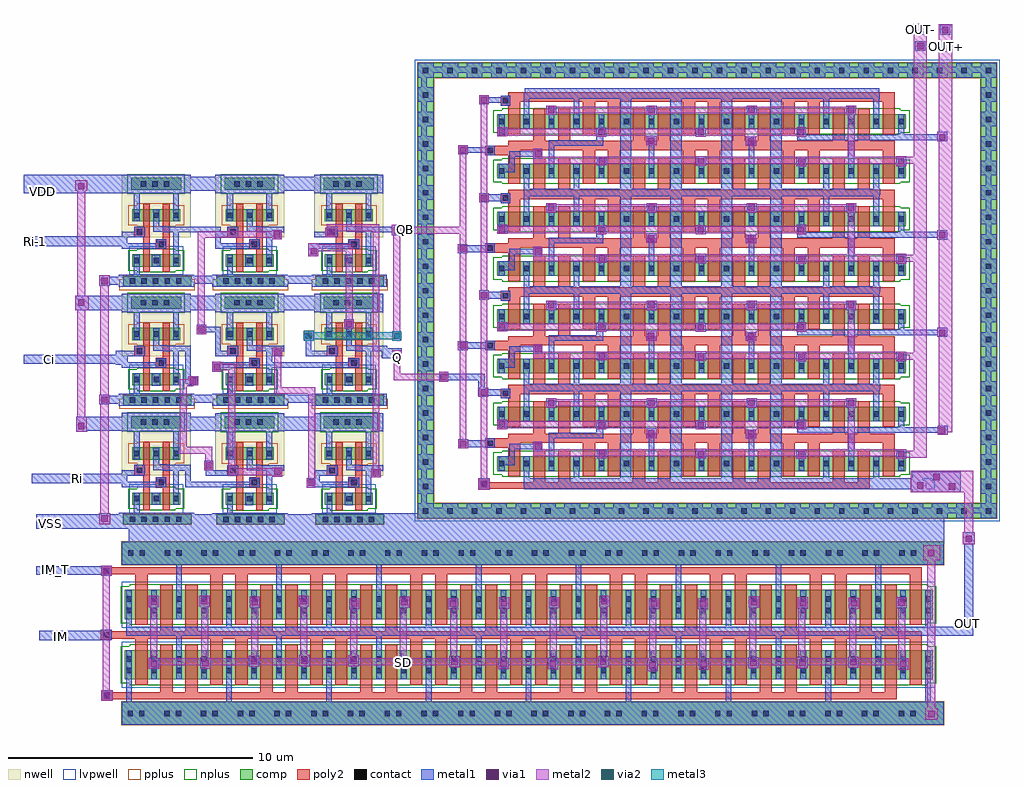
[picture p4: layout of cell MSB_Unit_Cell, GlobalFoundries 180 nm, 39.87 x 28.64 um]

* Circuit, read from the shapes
.subckt MSB_Unit_Cell Ci IM IM_T OUT OUT+ OUT- Q QB Ri Ri-1 SD VDD VSS
XM1 SD IM VSS VSS nfet_03v3 w=1.2u l=0.5u m=32
XM2 SD IM_T OUT VSS nfet_03v3 w=1.2u l=0.5u m=32
XM3 Local_Enc_4/NAND_5/SD Ri VSS VSS nfet_03v3 w=0.5u l=0.28u
XM4 Local_Enc_4/NAND_6/SD Ci VSS VSS nfet_03v3 w=0.5u l=0.28u
XM5 Local_Enc_4/NAND_8/SD Ri-1 VSS VSS nfet_03v3 w=0.5u l=0.28u
XM6 Local_Enc_4/NAND_2/A Ri Local_Enc_4/NAND_5/SD VSS nfet_03v3 w=0.5u l=0.28u
XM7 Local_Enc_4/NAND_2/B Ci Local_Enc_4/NAND_6/SD VSS nfet_03v3 w=0.5u l=0.28u
XM8 Local_Enc_4/NAND_7/A Ri-1 Local_Enc_4/NAND_8/SD VSS nfet_03v3 w=0.5u l=0.28u
XM9 Local_Enc_4/NAND_2/SD Local_Enc_4/NAND_2/B VSS VSS nfet_03v3 w=0.5u l=0.28u
XM10 Local_Enc_4/NAND_3/SD Local_Enc_4/NAND_3/B VSS VSS nfet_03v3 w=0.5u l=0.28u
XM11 Local_Enc_4/NAND_7/SD Local_Enc_4/NAND_7/A VSS VSS nfet_03v3 w=0.5u l=0.28u
XM12 Local_Enc_4/NAND_3/A Local_Enc_4/NAND_2/A Local_Enc_4/NAND_2/SD VSS nfet_03v3 w=0.5u l=0.28u
XM13 Local_Enc_4/NAND_0/A Local_Enc_4/NAND_3/A Local_Enc_4/NAND_3/SD VSS nfet_03v3 w=0.5u l=0.28u
XM14 Local_Enc_4/NAND_3/B Local_Enc_4/NAND_7/A Local_Enc_4/NAND_7/SD VSS nfet_03v3 w=0.5u l=0.28u
XM15 Local_Enc_4/NAND_1/SD Local_Enc_4/NAND_0/A VSS VSS nfet_03v3 w=0.5u l=0.28u
XM16 Local_Enc_4/NAND_0/SD QB VSS VSS nfet_03v3 w=0.5u l=0.28u
XM17 Local_Enc_4/NAND_4/SD Local_Enc_4/NAND_4/B VSS VSS nfet_03v3 w=0.5u l=0.28u
XM18 Local_Enc_4/NAND_4/B Local_Enc_4/NAND_0/A Local_Enc_4/NAND_1/SD VSS nfet_03v3 w=0.5u l=0.28u
XM19 Q Local_Enc_4/NAND_0/A Local_Enc_4/NAND_0/SD VSS nfet_03v3 w=0.5u l=0.28u
XM20 QB Q Local_Enc_4/NAND_4/SD VSS nfet_03v3 w=0.5u l=0.28u
XM21 OUT QB OUT- VSS nfet_03v3 w=0.6u l=0.5u m=64
XM22 OUT Q OUT+ VSS nfet_03v3 w=0.6u l=0.5u m=64
XM23 Local_Enc_4/NAND_2/A Ri VDD VDD pfet_03v3 w=0.5u l=0.28u m=2
XM24 Local_Enc_4/NAND_2/B Ci VDD VDD pfet_03v3 w=0.5u l=0.28u m=2
XM25 Local_Enc_4/NAND_7/A Ri-1 VDD VDD pfet_03v3 w=0.5u l=0.28u m=2
XM26 Local_Enc_4/NAND_3/A Local_Enc_4/NAND_2/B VDD VDD pfet_03v3 w=0.5u l=0.28u
XM27 Local_Enc_4/NAND_0/A Local_Enc_4/NAND_3/B VDD VDD pfet_03v3 w=0.5u l=0.28u
XM28 Local_Enc_4/NAND_3/B Local_Enc_4/NAND_7/A VDD VDD pfet_03v3 w=0.5u l=0.28u m=2
XM29 VDD Local_Enc_4/NAND_2/A Local_Enc_4/NAND_3/A VDD pfet_03v3 w=0.5u l=0.28u
XM30 VDD Local_Enc_4/NAND_3/A Local_Enc_4/NAND_0/A VDD pfet_03v3 w=0.5u l=0.28u
XM31 Local_Enc_4/NAND_4/B Local_Enc_4/NAND_0/A VDD VDD pfet_03v3 w=0.5u l=0.28u m=2
XM32 Q QB VDD VDD pfet_03v3 w=0.5u l=0.28u
XM33 QB Local_Enc_4/NAND_4/B VDD VDD pfet_03v3 w=0.5u l=0.28u
XM34 VDD Local_Enc_4/NAND_0/A Q VDD pfet_03v3 w=0.5u l=0.28u
XM35 VDD Q QB VDD pfet_03v3 w=0.5u l=0.28u
.ends

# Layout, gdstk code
from math import pi, radians
import gdstk
lib = gdstk.Library(unit=1e-6, precision=1e-09)
def R(c, l, rs):  # rectangles x0, y0, x1, y1
    for r in rs: c.add(gdstk.rectangle(r[:2], r[2:], *l))
def A(c, l, x, y, w, h, nx, ny, dx, dy):  # array of equal rectangles
    R(c, l, [(x+i*dx, y+j*dy, x+i*dx+w, y+j*dy+h) for i in range(nx) for j in range(ny)])
nwell = (21, 0)
comp = (22, 0)
poly2 = (30, 0)
pplus = (31, 0)
nplus = (32, 0)
contact = (33, 0)
metal1 = (34, 0)
via1 = (35, 0)
metal2 = (36, 0)
via2 = (38, 0)
metal3 = (42, 0)
lvpwell = (204, 0)

nmos_3p3_agplv7 = lib.new_cell('nmos_3p3_AGPLV7')
R(nmos_3p3_agplv7, comp, [(-0.69,-0.3,0.69,0.3)])
R(nmos_3p3_agplv7, poly2, [(-0.25,-0.52,0.25,0.52)])
R(nmos_3p3_agplv7, nplus, [(-0.48,-0.53,0.48,-0.46), (-0.85,-0.46,0.85,0.46), (-0.48,0.46,0.48,0.53)])
R(nmos_3p3_agplv7, contact, [(-0.62,-0.11,-0.4,0.11), (0.4,-0.11,0.62,0.11)])
R(nmos_3p3_agplv7, metal1, [(-0.625,-0.29,-0.395,0.29), (0.395,-0.29,0.625,0.29)])
R(nmos_3p3_agplv7, lvpwell, [(-0.81,-0.64,0.81,0.64)])

nmos_3p3_aqeadk = lib.new_cell('nmos_3p3_AQEADK')
R(nmos_3p3_aqeadk, comp, [(-0.69,-0.3,0.69,0.3)])
R(nmos_3p3_aqeadk, poly2, [(-0.25,-0.52,0.25,0.52)])
R(nmos_3p3_aqeadk, nplus, [(-0.48,-0.53,0.48,-0.46), (-0.85,-0.46,0.85,0.46), (-0.48,0.46,0.48,0.53)])
R(nmos_3p3_aqeadk, contact, [(-0.62,-0.11,-0.4,0.11), (0.4,-0.11,0.62,0.11)])
R(nmos_3p3_aqeadk, metal1, [(-0.625,-0.29,-0.395,0.29), (0.395,-0.29,0.625,0.29)])
R(nmos_3p3_aqeadk, lvpwell, [(-0.81,-0.64,0.81,0.64)])

msb_unit_cell_p2 = lib.new_cell('MSB_Unit_Cell_p2')
R(msb_unit_cell_p2, comp, [(15.475,0.345,15.72,0.94)])
R(msb_unit_cell_p2, poly2, [(1.58,-2.4,15.34,-2.15), (1.58,-2.15,2.08,-1.905), (2.6,-2.15,3.1,-1.905), (5.66,-2.15,6.16,-1.905), (6.68,-2.15,7.18,-1.905), (9.74,-2.15,10.24,-1.905), (10.76,-2.15,11.26,-1.905), (13.82,-2.15,14.32,-1.905), (14.84,-2.15,15.34,-1.905), (1.59,-1.905,2.08,-1.63), (0.56,-0.865,1.06,-0.745), (3.62,-0.865,4.12,-0.54), (4.64,-0.865,5.14,-0.54), (7.7,-0.865,8.2,-0.54), (8.72,-0.865,9.22,-0.54), (11.78,-0.865,12.28,-0.54), (12.8,-0.865,13.3,-0.54), (15.86,-0.865,16.36,-0.54), (-0.37,-0.745,1.06,-0.54), (-0.37,-0.54,16.36,-0.35), (0.56,-0.35,16.36,-0.155), (1.58,-0.155,2.08,0.12), (2.6,-0.155,3.1,0.12), (5.66,-0.155,6.16,0.12), (6.68,-0.155,7.18,0.12), (9.74,-0.155,10.24,0.12), (10.76,-0.155,11.26,0.12), (13.82,-0.155,14.32,0.12), (14.84,-0.155,15.34,0.12), (1.58,0.13,1.965,0.34), (0.56,0.94,1.06,1.29), (15.925,1.025,16.36,1.16), (3.62,1.16,4.12,1.45), (4.64,1.16,5.14,1.45), (7.7,1.16,8.2,1.45), (8.72,1.16,9.22,1.45), (11.78,1.16,12.28,1.45), (12.8,1.16,13.3,1.45), (15.86,1.16,16.36,1.45), (0.255,1.29,1.06,1.45), (0.255,1.45,16.36,1.685), (0.56,1.685,16.36,1.835)])
A(msb_unit_cell_p2, nplus, 1.29, -1.915, 0.06, 0.07, 15, 2, 1.02, 0.99)
A(msb_unit_cell_p2, nplus, 1.29, 0.11, 0.06, 0.07, 15, 2, 1.02, 0.99)
R(msb_unit_cell_p2, nplus, [(15.315,0.185,15.88,1.1)])
R(msb_unit_cell_p2, contact, [(-0.285,-0.66,-0.065,-0.44), (0.345,1.38,0.565,1.6)])
A(msb_unit_cell_p2, metal1, 1.205, -2.1, 0.23, 0.42, 8, 1, 2.04, 0)
A(msb_unit_cell_p2, metal1, 5.27, -1.68, 0.255, 2.615, 4, 1, 2.04, 0)
A(msb_unit_cell_p2, metal1, 1.205, 0.935, 0.23, 0.635, 7, 1, 2.04, 0)
R(msb_unit_cell_p2, metal1, [(1.205,-2.33,15.76,-2.1), (0.17,-1.68,0.425,-1.445), (1.19,-1.68,1.445,-1.09), (3.23,-1.68,3.485,-1.09), (13.43,-1.68,13.685,-1.09), (15.47,-1.68,15.725,-1.09), (0.17,-1.445,0.835,-1.09), (12.335,-1.19,12.745,-0.805), (16.415,-1.175,16.83,-0.805), (8.235,-1.165,8.655,-0.78), (4.185,-1.155,4.595,-0.795), (2.225,-1.095,2.455,-0.35), (6.305,-1.095,6.535,-0.34), (10.385,-1.095,10.615,-0.355), (14.465,-1.095,14.695,-0.125), (0.605,-1.09,0.835,-0.8), (1.59,-0.885,1.96,-0.8), (0.605,-0.8,1.96,-0.57), (-0.37,-0.745,0.025,-0.35), (1.59,-0.57,1.96,-0.485), (10.275,-0.355,10.7,0.005), (2.225,-0.35,4.455,-0.12), (6.2,-0.34,6.625,0.065), (12.365,-0.125,16.735,0.02), (4.165,-0.12,4.455,0.02), (4.165,0.02,4.57,0.39), (8.235,0.02,8.64,0.39), (12.345,0.02,16.735,0.105), (0.115,0.03,0.525,0.405), (12.345,0.105,12.745,0.4), (16.505,0.105,16.735,0.35), (1.19,0.345,1.445,0.935), (3.23,0.345,3.485,0.935), (13.43,0.345,13.68,0.935), (15.475,0.345,15.72,0.94), (0.185,0.405,0.415,0.425), (2.12,0.905,2.53,1.28), (6.225,0.905,6.635,1.28), (10.305,0.905,10.715,1.28), (14.37,0.905,14.78,1.28), (15.485,0.94,15.715,1.57), (2.18,1.28,2.47,1.29), (0.255,1.29,0.65,1.685), (1.205,1.57,15.75,1.8)])
R(msb_unit_cell_p2, via1, [(12.41,-1.125,12.67,-0.865), (8.315,-1.115,8.575,-0.855), (16.49,-1.115,16.75,-0.855), (4.27,-1.105,4.53,-0.845), (1.65,-0.815,1.91,-0.555), (10.35,-0.305,10.61,-0.045), (6.275,-0.28,6.535,-0.02), (4.24,0.07,4.5,0.33), (8.3,0.07,8.56,0.33), (12.4,0.07,12.66,0.33), (0.185,0.085,0.445,0.345), (2.195,0.975,2.455,1.235), (6.295,0.975,6.555,1.235), (10.375,0.975,10.635,1.235), (14.445,0.975,14.705,1.235)])
R(msb_unit_cell_p2, metal2, [(12.335,-1.19,12.745,-1.085), (16.41,-1.19,16.835,-1.085), (8.235,-1.165,8.655,-1.085), (4.185,-1.155,4.595,-1.085), (1.595,-1.085,16.835,-0.885), (1.59,-0.885,16.835,-0.805), (1.59,-0.805,1.96,-0.485), (4.185,-0.805,4.595,-0.795), (8.235,-0.805,8.655,-0.78), (14.435,-0.805,14.715,0.905), (16.41,-0.805,16.835,-0.79), (10.34,-0.36,10.62,-0.355), (10.275,-0.355,10.7,0.005), (6.2,-0.34,6.625,0.06), (10.275,0.005,10.71,0.06), (4.165,0.02,4.57,0.06), (8.235,0.02,8.64,0.06), (12.345,0.02,12.745,0.06), (0.115,0.03,0.525,0.06), (0.115,0.06,12.745,0.34), (0.115,0.34,0.525,0.405), (4.165,0.34,4.57,0.39), (8.235,0.34,8.64,0.39), (12.345,0.34,12.745,0.4), (2.12,0.905,2.53,0.965), (6.225,0.905,6.635,0.965), (10.305,0.905,10.715,0.965), (14.37,0.905,14.78,0.965), (2.12,0.965,14.78,1.245), (2.12,1.245,2.53,1.28), (6.225,1.245,6.635,1.28), (10.305,1.245,10.715,1.28), (14.37,1.245,14.78,1.28)])
R(msb_unit_cell_p2, lvpwell, [(12.335,-1.19,12.745,-0.805), (8.235,-1.165,8.645,-0.78), (10.275,0.005,10.71,0.07), (15.475,0.345,15.72,0.94)])
msb_unit_cell_p2.add(gdstk.Reference(nmos_3p3_agplv7, (0.81,-1.385)))
msb_unit_cell_p2.add(gdstk.Reference(nmos_3p3_agplv7, (1.83,-1.385)))
msb_unit_cell_p2.add(gdstk.Reference(nmos_3p3_agplv7, (2.85,-1.385)))
msb_unit_cell_p2.add(gdstk.Reference(nmos_3p3_agplv7, (3.87,-1.385)))
msb_unit_cell_p2.add(gdstk.Reference(nmos_3p3_agplv7, (4.89,-1.385)))
msb_unit_cell_p2.add(gdstk.Reference(nmos_3p3_agplv7, (5.91,-1.385)))
msb_unit_cell_p2.add(gdstk.Reference(nmos_3p3_agplv7, (6.93,-1.385)))
msb_unit_cell_p2.add(gdstk.Reference(nmos_3p3_agplv7, (7.95,-1.385)))
msb_unit_cell_p2.add(gdstk.Reference(nmos_3p3_agplv7, (8.97,-1.385)))
msb_unit_cell_p2.add(gdstk.Reference(nmos_3p3_agplv7, (9.99,-1.385)))
msb_unit_cell_p2.add(gdstk.Reference(nmos_3p3_agplv7, (12.03,-1.385)))
msb_unit_cell_p2.add(gdstk.Reference(nmos_3p3_agplv7, (11.01,-1.385)))
msb_unit_cell_p2.add(gdstk.Reference(nmos_3p3_agplv7, (13.05,-1.385)))
msb_unit_cell_p2.add(gdstk.Reference(nmos_3p3_agplv7, (14.07,-1.385)))
msb_unit_cell_p2.add(gdstk.Reference(nmos_3p3_agplv7, (15.09,-1.385)))
msb_unit_cell_p2.add(gdstk.Reference(nmos_3p3_agplv7, (16.11,-1.385)))
msb_unit_cell_p2.add(gdstk.Reference(nmos_3p3_aqeadk, (0.81,0.64)))
msb_unit_cell_p2.add(gdstk.Reference(nmos_3p3_aqeadk, (1.83,0.64)))
msb_unit_cell_p2.add(gdstk.Reference(nmos_3p3_aqeadk, (2.85,0.64)))
msb_unit_cell_p2.add(gdstk.Reference(nmos_3p3_aqeadk, (3.87,0.64)))
msb_unit_cell_p2.add(gdstk.Reference(nmos_3p3_aqeadk, (4.89,0.64)))
msb_unit_cell_p2.add(gdstk.Reference(nmos_3p3_aqeadk, (5.91,0.64)))
msb_unit_cell_p2.add(gdstk.Reference(nmos_3p3_aqeadk, (6.93,0.64)))
msb_unit_cell_p2.add(gdstk.Reference(nmos_3p3_aqeadk, (7.95,0.64)))
msb_unit_cell_p2.add(gdstk.Reference(nmos_3p3_aqeadk, (9.99,0.64)))
msb_unit_cell_p2.add(gdstk.Reference(nmos_3p3_aqeadk, (8.97,0.64)))
msb_unit_cell_p2.add(gdstk.Reference(nmos_3p3_aqeadk, (11.01,0.64)))
msb_unit_cell_p2.add(gdstk.Reference(nmos_3p3_aqeadk, (12.03,0.64)))
msb_unit_cell_p2.add(gdstk.Reference(nmos_3p3_aqeadk, (13.05,0.64)))
msb_unit_cell_p2.add(gdstk.Reference(nmos_3p3_aqeadk, (14.07,0.64)))
msb_unit_cell_p2.add(gdstk.Reference(nmos_3p3_aqeadk, (15.09,0.64)))
msb_unit_cell_p2.add(gdstk.Reference(nmos_3p3_aqeadk, (16.11,0.64)))

pmos_3p3_m8rwps = lib.new_cell('pmos_3p3_M8RWPS')
R(pmos_3p3_m8rwps, nwell, [(-1.01,-0.9,1.01,0.9)])
R(pmos_3p3_m8rwps, comp, [(-0.58,-0.25,0.58,0.25)])
R(pmos_3p3_m8rwps, poly2, [(-0.14,-0.47,0.14,0.47)])
R(pmos_3p3_m8rwps, pplus, [(-0.37,-0.48,0.37,-0.41), (-0.74,-0.41,0.74,0.41), (-0.37,0.41,0.37,0.48)])
R(pmos_3p3_m8rwps, contact, [(-0.51,-0.11,-0.29,0.11), (0.29,-0.11,0.51,0.11)])
R(pmos_3p3_m8rwps, metal1, [(-0.515,-0.24,-0.285,0.24), (0.285,-0.24,0.515,0.24)])

nmos_3p3_hzs5ua = lib.new_cell('nmos_3p3_HZS5UA')
R(nmos_3p3_hzs5ua, comp, [(-0.58,-0.25,0.58,0.25)])
R(nmos_3p3_hzs5ua, poly2, [(-0.14,-0.47,0.14,0.47)])
R(nmos_3p3_hzs5ua, nplus, [(-0.37,-0.48,0.37,-0.41), (-0.74,-0.41,0.74,0.41), (-0.37,0.41,0.37,0.48)])
R(nmos_3p3_hzs5ua, contact, [(-0.51,-0.11,-0.29,0.11), (0.29,-0.11,0.51,0.11)])
R(nmos_3p3_hzs5ua, metal1, [(-0.515,-0.24,-0.285,0.24), (0.285,-0.24,0.515,0.24)])
R(nmos_3p3_hzs5ua, lvpwell, [(-0.7,-0.59,0.7,0.59)])

nand = lib.new_cell('NAND')
R(nand, nwell, [(0.56,1.61,0.61,1.66), (1.55,1.64,2.51,1.73), (0.19,1.66,0.625,1.965), (1.36,1.73,2.51,1.76), (1.55,1.76,2.51,1.895), (1.55,1.895,2.38,1.9), (1.215,1.96,2.015,1.97), (0.19,1.965,0.635,1.97), (1.215,1.97,1.53,1.99), (-0.31,3.34,2.51,4.09)])
R(nand, comp, [(-0.25,-0.46,2.52,-0.05), (0.08,3.475,2.11,3.96)])
R(nand, poly2, [(1.08,1.04,1.515,1.06), (0.56,1.06,0.84,1.53), (1.08,1.06,1.64,1.465), (1.36,1.465,1.64,1.97), (0.19,1.53,0.84,1.97)])
R(nand, pplus, [(-0.27,-0.48,2.54,-0.03), (1.07,1.96,1.13,2.03), (1.07,2.85,1.13,2.92)])
R(nand, nplus, [(1.07,0.11,1.13,0.18), (1.07,1,1.13,1.07), (-0.08,3.315,2.27,4.12)])
A(nand, contact, 0.025, -0.36, 0.22, 0.22, 5, 1, 0.47, 0)
A(nand, contact, 0.465, 3.61, 0.22, 0.22, 3, 1, 0.47, 0)
R(nand, contact, [(1.19,1.14,1.41,1.36), (0.305,1.64,0.525,1.86)])
R(nand, metal1, [(-0.43,-0.485,2.65,0.005), (0.185,0.005,0.415,0.83), (0.92,0.335,1.255,0.825), (1.785,0.35,2.015,1.74), (-0.305,1.06,1.515,1.29), (1.09,1.29,1.515,1.455), (-0.315,1.53,0.635,1.76), (1.365,1.74,2.51,1.76), (0.19,1.76,0.635,1.97), (0.985,1.76,2.51,1.97), (0.985,1.97,1.53,1.99), (0.985,1.99,1.215,2.2), (0.985,2.2,1.21,2.235), (1.785,2.2,2.015,3.34), (1.045,2.235,1.15,2.27), (0.17,2.245,0.425,3.34), (-0.31,3.34,2.51,4.09)])
R(nand, lvpwell, [(0.435,1.055,1.09,1.06), (1.515,1.055,2.08,1.06), (1.145,1.105,1.46,1.4), (1.145,1.4,1.445,1.405)])
nand.add(gdstk.Reference(pmos_3p3_m8rwps, (0.7,2.44)))
nand.add(gdstk.Reference(pmos_3p3_m8rwps, (1.5,2.44), rotation=pi, x_reflection=True))
nand.add(gdstk.Reference(nmos_3p3_hzs5ua, (0.7,0.59)))
nand.add(gdstk.Reference(nmos_3p3_hzs5ua, (1.5,0.59)))
nand.add(gdstk.Label('VDD', (1.035,3.72), layer=22, texttype=0))
nand.add(gdstk.Label('VSS', (1.08,-0.24), layer=22, texttype=0))
nand.add(gdstk.Label('B', (-0.165,1.65), layer=34, texttype=10))
nand.add(gdstk.Label('A', (-0.15,1.16), layer=34, texttype=10))
nand.add(gdstk.Label('OUT', (2.345,1.88), layer=34, texttype=10))
nand.add(gdstk.Label('SD', (1.09,0.545), layer=34, texttype=10))

local_enc = lib.new_cell('Local_Enc')
R(local_enc, nwell, [(8.69,11.765,9.07,12.135)])
R(local_enc, pplus, [(0.275,4.74,3.365,4.88), (4.09,4.74,7.18,4.88), (8.145,4.74,11.235,4.88), (0.275,4.88,0.415,5.165), (3.225,4.88,3.365,5.165), (4.09,4.88,4.23,5.16), (7.04,4.88,7.18,5.16), (8.145,4.88,8.285,5.16), (11.095,4.88,11.235,5.16), (0.275,9.595,3.365,9.735), (4.09,9.595,7.18,9.735), (8.145,9.595,11.235,9.735), (0.275,9.735,0.415,10.04), (3.225,9.735,3.365,10.04), (4.09,9.735,4.23,10.04), (7.04,9.735,7.18,10.04), (8.145,9.735,8.285,10.04), (11.095,9.735,11.235,10.04)])
R(local_enc, metal1, [(-0.555,0.035,-0.09,0.095), (-0.555,0.095,11.145,0.43), (-0.555,0.43,-0.09,0.48), (7.93,1.525,8.275,1.545), (2.965,1.54,4.425,1.77), (0.37,1.545,0.6,2.245), (7.93,1.545,8.47,1.9), (2.965,1.77,3.195,2.455), (8.24,1.9,8.47,2.24), (10.56,1.945,10.945,2.3), (6.515,1.98,6.93,2.33), (3.81,2.01,4.415,2.24), (3.745,2.24,4.12,2.63), (10.62,2.3,10.9,2.32), (10.645,2.32,10.875,2.45), (6.595,2.33,6.875,2.36), (6.62,2.36,6.85,2.45), (-1.495,3.815,-1.05,3.835), (-1.495,3.835,-1.04,3.84), (-1.495,3.84,10.98,4.415), (-0.55,4.93,-0.145,4.95), (-0.55,4.95,0.59,4.985), (-0.55,4.985,11.095,5.285), (-0.55,5.285,-0.145,5.32), (0.255,5.285,11.095,5.32), (3.09,5.705,3.48,5.77), (2.965,5.77,3.48,6.065), (2.965,6.065,3.195,7.33), (4.08,6.255,4.43,6.66), (0.37,6.42,0.6,7.12), (6.315,6.42,8.48,6.65), (10.99,6.82,11.715,7.05), (6.515,6.885,6.935,7.245), (4.185,6.89,4.415,7.875), (7.89,6.89,8.47,7.12), (10.99,7.05,11.22,7.1), (10.835,7.1,11.22,7.33), (7.89,7.12,8.12,7.52), (6.625,7.245,6.855,7.33), (7.8,7.52,8.215,7.94), (3.435,7.795,3.825,7.875), (3.435,7.875,4.415,8.105), (9.545,7.96,9.775,8.015), (9.465,8.015,9.855,8.405), (3.435,8.105,3.825,8.175), (-1.52,8.78,10.935,9.355), (-1.52,9.355,-0.97,9.36), (-0.555,9.775,-0.125,9.805), (-0.555,9.805,0.59,9.85), (-0.555,9.85,11.135,10.14), (-0.555,10.14,-0.125,10.21), (0.255,10.14,11.135,10.185), (7.995,10.985,8.405,11.51), (0.37,11.275,0.6,11.975), (4.185,11.275,4.415,11.955), (6.495,11.665,6.9,12.05), (8.69,11.765,9.07,12.135), (11.4,11.845,11.805,11.955), (2.965,11.955,4.415,12.185), (10.835,11.955,12.13,12.185), (11.4,12.185,11.805,12.255), (-1.52,13.645,-1.04,13.675), (0.375,13.65,11.06,13.675), (-1.52,13.675,11.06,14.01), (-1.52,14.01,-1.04,14.085), (0.375,14.01,11.06,14.225), (0.375,14.225,0.95,14.23)])
R(local_enc, via1, [(-0.46,0.13,-0.2,0.39), (8,1.6,8.26,1.86), (10.63,2.01,10.89,2.27), (6.605,2.05,6.865,2.31), (3.795,2.305,4.055,2.565), (-1.41,3.915,-1.15,4.175), (-0.46,4.985,-0.2,5.245), (3.155,5.755,3.415,6.015), (4.14,6.325,4.4,6.585), (6.61,6.92,6.87,7.18), (7.875,7.6,8.135,7.86), (3.5,7.86,3.76,8.12), (9.53,8.08,9.79,8.34), (-1.41,8.955,-1.15,9.215), (-0.465,9.84,-0.205,10.1), (8.085,11.05,8.345,11.31), (6.58,11.735,6.84,11.995), (8.755,11.835,9.015,12.095), (11.475,11.905,11.735,12.165), (-1.41,13.71,-1.15,13.97)])
R(local_enc, metal2, [(-0.555,0.035,-0.09,0.48), (-0.495,0.48,-0.16,4.93), (7.93,1.525,8.275,1.9), (7.99,1.9,8.27,5.355), (10.56,1.945,10.945,2.3), (6.515,1.98,6.93,2.04), (4.73,2.04,6.93,2.32), (3.745,2.24,4.12,2.63), (10.62,2.3,10.9,12), (4.73,2.32,5.01,6.315), (6.515,2.32,6.93,2.33), (3.785,2.63,4.065,2.92), (2.74,2.92,4.065,3.2), (2.74,3.2,3.02,5.675), (-1.495,3.815,-1.05,4.415), (-1.445,4.415,-1.11,8.78), (-0.55,4.93,-0.145,5.32), (-0.495,5.32,-0.16,9.775), (6.605,5.355,8.27,5.635), (6.605,5.635,6.885,6.73), (2.74,5.675,3.3,5.7), (2.74,5.7,3.495,5.955), (3.08,5.955,3.495,6.07), (4.08,6.255,4.43,6.315), (4.08,6.315,5.01,6.595), (4.08,6.595,4.43,6.66), (6.6,6.73,6.885,6.885), (6.515,6.885,6.935,7.245), (7.8,7.52,8.215,7.94), (11.42,7.53,11.8,7.915), (3.435,7.795,3.825,8.175), (11.465,7.915,11.745,11.845), (9.465,8.015,9.855,8.405), (3.485,8.175,3.77,8.295), (3.485,8.295,3.765,11.725), (9.52,8.405,9.8,11.185), (-1.52,8.78,-0.97,9.36), (-1.445,9.36,-1.11,13.645), (-0.555,9.775,-0.125,10.21), (7.995,10.985,8.405,11.185), (7.995,11.185,9.8,11.465), (7.995,11.465,8.405,11.51), (6.52,11.665,6.9,11.725), (3.485,11.725,6.9,12.005), (8.69,11.745,9.095,12), (11.4,11.845,11.805,12.255), (8.69,12,10.9,12.15), (6.52,12.005,6.9,12.05), (8.745,12.15,10.9,12.28), (-1.52,13.645,-1.04,14.085)])
R(local_enc, via2, [(7.875,7.6,8.135,7.86), (11.475,7.6,11.735,7.86)])
R(local_enc, metal3, [(7.8,7.52,8.215,7.59), (11.42,7.53,11.8,7.59), (7.8,7.59,11.8,7.87), (7.8,7.87,8.215,7.94), (11.42,7.87,11.8,7.915)])
local_enc.add(gdstk.Reference(nand, (8.555,5.36)))
local_enc.add(gdstk.Reference(nand, (8.555,0.48)))
local_enc.add(gdstk.Reference(nand, (4.5,0.48)))
local_enc.add(gdstk.Reference(nand, (4.5,5.36)))
local_enc.add(gdstk.Reference(nand, (8.555,10.215)))
local_enc.add(gdstk.Reference(nand, (0.685,0.485)))
local_enc.add(gdstk.Reference(nand, (0.685,5.36)))
local_enc.add(gdstk.Reference(nand, (4.5,10.215)))
local_enc.add(gdstk.Reference(nand, (0.685,10.215)))
local_enc.add(gdstk.Label('Ri-1', (0.465,11.64), layer=34, texttype=10))
local_enc.add(gdstk.Label('VDD', (5.49,13.96), layer=34, texttype=10))
local_enc.add(gdstk.Label('VSS', (5.51,10.025), layer=34, texttype=10))
local_enc.add(gdstk.Label('Q', (11.61,6.925), layer=34, texttype=10))
local_enc.add(gdstk.Label('QB', (11.98,12.06), layer=34, texttype=10))
local_enc.add(gdstk.Label('Ci', (0.465,6.75), layer=34, texttype=10))
local_enc.add(gdstk.Label('Ri', (0.46,1.885), layer=34, texttype=10))

nmos_3p3_lnplvm = lib.new_cell('nmos_3p3_LNPLVM')
R(nmos_3p3_lnplvm, comp, [(-16.5,-0.6,16.5,0.6)])
A(nmos_3p3_lnplvm, poly2, -16.06, -0.82, 0.5, 1.64, 32, 1, 1.02, 0)
R(nmos_3p3_lnplvm, nplus, [(-16.29,-0.83,16.29,-0.76), (-16.66,-0.76,16.66,0.76), (-16.29,0.76,16.29,0.83)])
A(nmos_3p3_lnplvm, contact, -16.43, -0.345, 0.22, 0.22, 33, 2, 1.02, 0.47)
A(nmos_3p3_lnplvm, metal1, -16.435, -0.59, 0.23, 1.18, 33, 1, 1.02, 0)
R(nmos_3p3_lnplvm, lvpwell, [(-16.62,-0.94,16.62,0.94)])

cm_msb_v2 = lib.new_cell('CM_MSB_V2')
R(cm_msb_v2, comp, [(0,-1.04,33.575,-0.105), (0,5.49,33.575,6.425)])
R(cm_msb_v2, poly2, [(-0.83,-0.07,-0.37,-0.005), (-0.83,-0.005,31.66,0.29), (-0.83,0.29,-0.37,0.37), (1.58,0.29,2.08,0.645), (2.6,0.29,3.1,0.585), (5.66,0.29,6.16,0.585), (6.68,0.29,7.18,0.585), (9.74,0.29,10.24,0.585), (10.76,0.29,11.26,0.585), (13.82,0.29,14.32,0.585), (14.84,0.29,15.34,0.585), (17.9,0.29,18.4,0.585), (18.92,0.29,19.42,0.585), (21.98,0.29,22.48,0.585), (23,0.29,23.5,0.585), (26.06,0.29,26.56,0.585), (27.08,0.29,27.58,0.585), (30.14,0.29,30.64,0.585), (31.16,0.29,31.66,0.585), (0.56,2.005,1.06,2.47), (3.62,2.225,4.12,2.47), (4.64,2.225,5.14,2.47), (7.7,2.225,8.2,2.47), (8.72,2.225,9.22,2.47), (11.78,2.225,12.28,2.47), (12.8,2.225,13.3,2.47), (15.86,2.225,16.36,2.47), (16.88,2.225,17.38,2.47), (19.94,2.225,20.44,2.47), (20.96,2.225,21.46,2.47), (24.02,2.225,24.52,2.47), (25.04,2.225,25.54,2.47), (28.1,2.225,28.6,2.47), (29.12,2.225,29.62,2.47), (32.18,2.225,32.68,2.47), (-0.855,2.425,-0.42,2.47), (-0.855,2.47,32.68,2.765), (-0.855,2.765,-0.42,2.83), (1.58,2.765,2.08,3.04), (2.6,2.765,3.1,3.04), (5.66,2.765,6.16,3.04), (6.68,2.765,7.18,3.04), (9.74,2.765,10.24,3.04), (10.76,2.765,11.26,3.04), (13.82,2.765,14.32,3.04), (14.84,2.765,15.34,3.04), (17.9,2.765,18.4,3.04), (18.92,2.765,19.42,3.04), (21.98,2.765,22.48,3.04), (23,2.765,23.5,3.04), (26.06,2.765,26.56,3.04), (27.08,2.765,27.58,3.04), (30.14,2.765,30.64,3.04), (31.16,2.765,31.66,3.04), (0.56,4.625,1.06,5.095), (3.62,4.68,4.12,5.095), (4.64,4.68,5.14,5.095), (7.7,4.68,8.2,5.095), (8.72,4.68,9.22,5.095), (11.78,4.68,12.28,5.095), (12.8,4.68,13.3,5.095), (15.86,4.68,16.36,5.095), (16.88,4.68,17.38,5.095), (19.94,4.68,20.44,5.095), (20.96,4.68,21.46,5.095), (24.02,4.68,24.52,5.095), (25.04,4.68,25.54,5.095), (28.1,4.68,28.6,5.095), (29.12,4.68,29.62,5.095), (32.18,4.68,32.68,5.095), (-0.84,5.04,-0.41,5.095), (-0.84,5.095,32.68,5.385), (-0.84,5.385,-0.41,5.455)])
R(cm_msb_v2, pplus, [(-0.02,-1.06,33.595,-0.085), (-0.02,5.47,33.595,6.445)])
R(cm_msb_v2, contact, [(0.235,-0.69,0.455,-0.47), (0.705,-0.69,0.925,-0.47), (1.735,-0.69,1.955,-0.47), (2.205,-0.69,2.425,-0.47), (3.235,-0.69,3.455,-0.47), (3.705,-0.69,3.925,-0.47), (4.735,-0.69,4.955,-0.47), (5.205,-0.69,5.425,-0.47), (6.235,-0.69,6.455,-0.47), (6.705,-0.69,6.925,-0.47), (7.735,-0.69,7.955,-0.47), (8.205,-0.69,8.425,-0.47), (9.235,-0.69,9.455,-0.47), (9.705,-0.69,9.925,-0.47), (10.735,-0.69,10.955,-0.47), (11.205,-0.69,11.425,-0.47), (12.235,-0.69,12.455,-0.47), (12.705,-0.69,12.925,-0.47), (13.735,-0.69,13.955,-0.47), (14.205,-0.69,14.425,-0.47), (15.235,-0.69,15.455,-0.47), (15.705,-0.69,15.925,-0.47), (16.735,-0.69,16.955,-0.47), (17.205,-0.69,17.425,-0.47), (18.235,-0.69,18.455,-0.47), (18.705,-0.69,18.925,-0.47), (19.735,-0.69,19.955,-0.47), (20.205,-0.69,20.425,-0.47), (21.235,-0.69,21.455,-0.47), (21.705,-0.69,21.925,-0.47), (22.735,-0.69,22.955,-0.47), (23.205,-0.69,23.425,-0.47), (24.235,-0.69,24.455,-0.47), (24.705,-0.69,24.925,-0.47), (25.735,-0.69,25.955,-0.47), (26.205,-0.69,26.425,-0.47), (27.235,-0.69,27.455,-0.47), (27.705,-0.69,27.925,-0.47), (28.735,-0.69,28.955,-0.47), (29.205,-0.69,29.425,-0.47), (30.235,-0.69,30.455,-0.47), (30.705,-0.69,30.925,-0.47), (31.735,-0.69,31.955,-0.47), (32.205,-0.69,32.425,-0.47), (-0.74,0.025,-0.52,0.245), (-0.76,2.515,-0.54,2.735), (-0.74,5.13,-0.52,5.35), (0.255,5.855,0.475,6.075), (0.725,5.855,0.945,6.075), (1.755,5.855,1.975,6.075), (2.225,5.855,2.445,6.075), (3.255,5.855,3.475,6.075), (3.725,5.855,3.945,6.075), (4.755,5.855,4.975,6.075), (5.225,5.855,5.445,6.075), (6.255,5.855,6.475,6.075), (6.725,5.855,6.945,6.075), (7.755,5.855,7.975,6.075), (8.225,5.855,8.445,6.075), (9.255,5.855,9.475,6.075), (9.725,5.855,9.945,6.075), (10.755,5.855,10.975,6.075), (11.225,5.855,11.445,6.075), (12.255,5.855,12.475,6.075), (12.725,5.855,12.945,6.075), (13.755,5.855,13.975,6.075), (14.225,5.855,14.445,6.075), (15.255,5.855,15.475,6.075), (15.725,5.855,15.945,6.075), (16.755,5.855,16.975,6.075), (17.225,5.855,17.445,6.075), (18.255,5.855,18.475,6.075), (18.725,5.855,18.945,6.075), (19.755,5.855,19.975,6.075), (20.225,5.855,20.445,6.075), (21.255,5.855,21.475,6.075), (21.725,5.855,21.945,6.075), (22.755,5.855,22.975,6.075), (23.225,5.855,23.445,6.075), (24.255,5.855,24.475,6.075), (24.725,5.855,24.945,6.075), (25.755,5.855,25.975,6.075), (26.225,5.855,26.445,6.075), (27.255,5.855,27.475,6.075), (27.725,5.855,27.945,6.075), (28.755,5.855,28.975,6.075), (29.225,5.855,29.445,6.075), (30.255,5.855,30.475,6.075), (30.725,5.855,30.945,6.075), (31.755,5.855,31.975,6.075), (32.225,5.855,32.445,6.075)])
A(cm_msb_v2, metal1, 0.185, -0.105, 0.23, 0.92, 9, 1, 4.08, 0)
A(cm_msb_v2, metal1, 2.225, 1.995, 0.23, 0.6, 8, 1, 4.08, 0)
A(cm_msb_v2, metal1, 0.185, 2.955, 0.23, 0.315, 9, 1, 4.08, 0)
A(cm_msb_v2, metal1, 2.225, 4.45, 0.23, 1.04, 8, 1, 4.08, 0)
R(cm_msb_v2, metal1, [(0,-1.04,33.575,-0.105), (-0.83,-0.07,-0.37,0.37), (21.475,1.145,21.9,1.6), (23.56,1.195,23.985,1.65), (31.715,1.21,32.14,1.665), (15.385,1.22,15.81,1.675), (17.395,1.225,17.82,1.68), (1.105,1.235,1.53,1.69), (3.21,1.245,3.635,1.7), (25.6,1.26,26.025,1.715), (27.6,1.27,28.025,1.725), (29.675,1.275,30.1,1.73), (11.27,1.29,11.695,1.745), (13.385,1.3,13.81,1.755), (19.46,1.3,19.885,1.755), (5.19,1.325,5.615,1.78), (9.255,1.34,9.68,1.795), (7.255,1.35,7.68,1.805), (17.43,1.68,17.81,1.69), (-0.855,2.425,-0.42,2.83), (0.185,2.595,34.575,2.955), (9.285,3.675,9.71,4.13), (13.32,3.675,13.745,4.13), (21.525,3.675,21.95,4.13), (23.535,3.675,23.96,4.13), (29.7,3.685,30.125,4.14), (15.395,3.7,15.82,4.155), (27.615,3.7,28.04,4.155), (17.45,3.715,17.875,4.17), (31.64,3.715,32.065,4.17), (11.335,3.73,11.76,4.185), (5.22,3.74,5.645,4.19), (25.615,3.74,26.04,4.195), (1.095,3.76,1.52,4.215), (3.16,3.765,3.585,4.22), (7.22,3.765,7.645,4.22), (19.5,3.765,19.925,4.22), (-0.84,5.04,-0.41,5.455), (0,5.49,33.575,6.425)])
R(cm_msb_v2, via1, [(32.94,-0.73,33.2,-0.47), (-0.745,0.015,-0.485,0.275), (21.555,1.25,21.815,1.51), (23.64,1.3,23.9,1.56), (31.795,1.315,32.055,1.575), (1.18,1.325,1.44,1.585), (15.465,1.325,15.725,1.585), (17.475,1.33,17.735,1.59), (3.29,1.35,3.55,1.61), (25.68,1.365,25.94,1.625), (27.68,1.375,27.94,1.635), (29.755,1.38,30.015,1.64), (11.35,1.395,11.61,1.655), (13.465,1.405,13.725,1.665), (19.54,1.405,19.8,1.665), (5.27,1.43,5.53,1.69), (9.335,1.445,9.595,1.705), (7.335,1.455,7.595,1.715), (9.365,3.78,9.625,4.04), (13.4,3.78,13.66,4.04), (21.605,3.78,21.865,4.04), (23.615,3.78,23.875,4.04), (29.78,3.79,30.04,4.05), (15.475,3.805,15.735,4.065), (27.695,3.805,27.955,4.065), (17.53,3.82,17.79,4.08), (31.72,3.82,31.98,4.08), (11.415,3.835,11.675,4.095), (5.3,3.84,5.56,4.1), (25.695,3.845,25.955,4.105), (1.175,3.85,1.435,4.11), (3.24,3.87,3.5,4.13), (7.3,3.87,7.56,4.13), (19.58,3.87,19.84,4.13), (-0.765,5.11,-0.505,5.37), (32.925,5.84,33.185,6.1)])
R(cm_msb_v2, metal2, [(32.82,-0.84,33.335,-0.375), (32.905,-0.375,33.24,5.665), (-0.83,-0.07,-0.37,0.37), (-0.78,0.37,-0.49,5.04), (21.475,1.145,21.9,1.395), (23.56,1.195,23.985,1.395), (31.715,1.21,32.14,1.395), (15.385,1.22,15.81,1.395), (17.395,1.225,17.82,1.395), (1.105,1.235,1.53,1.395), (3.21,1.245,3.635,1.395), (25.6,1.26,26.025,1.395), (27.6,1.27,28.025,1.395), (29.675,1.275,30.1,1.395), (11.27,1.29,11.695,1.395), (13.385,1.3,13.81,1.395), (19.46,1.3,19.885,1.395), (5.19,1.325,5.615,1.395), (9.255,1.34,9.68,1.395), (7.255,1.35,7.68,1.395), (1.105,1.395,32.14,1.665), (1.105,1.665,32.01,1.68), (1.105,1.68,1.53,1.69), (3.21,1.68,3.635,1.7), (5.19,1.68,5.615,1.78), (7.255,1.68,7.68,1.805), (9.255,1.68,9.68,1.795), (11.27,1.68,11.695,1.745), (13.385,1.68,13.81,1.755), (15.465,1.68,15.75,3.7), (17.475,1.68,17.76,3.715), (19.46,1.68,19.885,1.755), (21.555,1.68,21.84,3.675), (23.595,1.68,23.88,3.675), (25.6,1.68,26.025,1.715), (27.6,1.68,28.025,1.725), (29.675,1.68,30.1,1.73), (31.725,1.68,32.01,3.715), (1.165,1.69,1.45,3.76), (3.25,1.7,3.535,3.765), (25.64,1.715,25.925,3.74), (27.63,1.725,27.915,3.7), (29.71,1.73,29.995,3.685), (11.35,1.745,11.635,3.73), (13.42,1.755,13.705,3.675), (19.545,1.755,19.83,3.765), (5.29,1.78,5.575,3.74), (9.335,1.795,9.62,3.675), (7.295,1.805,7.58,3.765), (9.285,3.675,9.71,4.13), (13.32,3.675,13.745,4.13), (21.525,3.675,21.95,4.13), (23.535,3.675,23.96,4.13), (29.7,3.685,30.125,4.14), (15.395,3.7,15.82,4.155), (27.615,3.7,28.04,4.155), (17.45,3.715,17.875,4.17), (31.64,3.715,32.065,4.17), (11.335,3.73,11.76,4.185), (5.22,3.74,5.645,4.19), (25.615,3.74,26.04,4.195), (1.095,3.76,1.52,4.215), (3.16,3.765,3.585,4.22), (7.22,3.765,7.645,4.22), (19.5,3.765,19.925,4.22), (-0.84,5.04,-0.41,5.455), (32.735,5.665,33.43,6.285)])
cm_msb_v2.add(gdstk.Reference(nmos_3p3_lnplvm, (16.62,1.405)))
cm_msb_v2.add(gdstk.Reference(nmos_3p3_lnplvm, (16.62,3.86)))
cm_msb_v2.add(gdstk.Label('IM_T', (-0.665,5.245), layer=34, texttype=10))
cm_msb_v2.add(gdstk.Label('VSS', (7.4,5.96), layer=34, texttype=10))
cm_msb_v2.add(gdstk.Label('OUT', (34.285,2.78), layer=34, texttype=10))
cm_msb_v2.add(gdstk.Label('IM', (-0.82,2.6), layer=34, texttype=10))
cm_msb_v2.add(gdstk.Label('SD', (11.45,1.55), layer=34, texttype=10))

msb_unit_cell = lib.new_cell('MSB_Unit_Cell')
R(msb_unit_cell, comp, [(-2.11,18.285,21.54,18.885), (-2.11,18.885,-1.46,36.285), (20.89,18.885,21.54,36.285), (-2.11,36.285,21.54,36.885)])
R(msb_unit_cell, poly2, [(0.375,19.445,0.835,19.495), (0.375,19.495,3.485,19.745), (0.375,19.745,0.835,19.905)])
R(msb_unit_cell, pplus, [(-2.13,18.255,21.56,18.905), (-2.13,18.905,-1.44,36.255), (20.87,18.905,21.56,36.255), (-2.13,36.255,21.56,36.905)])
A(msb_unit_cell, contact, -1.895, 18.465, 0.22, 0.22, 24, 2, 1, 18)
A(msb_unit_cell, contact, -1.895, 19.465, 0.22, 0.22, 1, 17, 0, 1)
A(msb_unit_cell, contact, 21.105, 19.465, 0.22, 0.22, 1, 17, 0, 1)
R(msb_unit_cell, contact, [(0.49,19.56,0.71,19.78)])
A(msb_unit_cell, metal1, -2.11, 18.715, 0.65, 0.17, 24, 2, 1, 18)
A(msb_unit_cell, metal1, -1.965, 18.885, 0.23, 0.4, 1, 18, 0, 1)
A(msb_unit_cell, metal1, 21.1, 18.885, 0.23, 0.4, 1, 18, 0, 1)
A(msb_unit_cell, metal1, -2.11, 19.285, 0.65, 0.6, 1, 17, 0, 1)
A(msb_unit_cell, metal1, 20.89, 19.285, 0.65, 0.6, 1, 17, 0, 1)
A(msb_unit_cell, metal1, -2.11, 36.285, 0.65, 0.2, 24, 1, 1, 0)
R(msb_unit_cell, metal1, [(-17.565,13.3,-14.655,13.685), (19.92,13.485,20.585,13.845), (-14.985,13.685,-14.715,13.69), (20.225,13.845,20.585,17.22), (-17.69,15.98,-14.695,16.32), (-13.92,16.515,-13.275,17.25), (20.155,17.22,20.645,17.7), (-13.92,17.25,19.395,17.85), (-17.69,17.85,19.395,18.28), (-17.69,18.28,-11.125,18.31), (-4.94,18.28,19.395,18.285), (-4.94,18.285,19.54,18.485), (19.89,18.285,20.54,18.485), (20.89,18.285,21.54,18.485), (-17.69,18.31,-12.955,18.435), (-11.805,18.31,-11.125,18.365), (-13.92,18.435,-13.275,18.495), (-4.94,18.485,21.54,18.49), (-2.11,18.49,21.54,18.715), (18.09,19.35,20.075,19.455), (0.375,19.445,0.835,19.905), (2.255,19.455,20.075,19.91), (-17.865,19.705,-14.05,19.785), (-17.865,19.785,-13.975,20.015), (6.17,19.91,6.625,35.525), (8.215,19.91,8.67,35.525), (10.29,19.91,10.745,35.525), (12.305,19.91,12.76,35.555), (18.09,19.91,20.075,20.185), (-17.865,20.015,-14.05,20.095), (-0.46,21.14,-0.05,21.185), (-0.46,21.185,0.79,21.465), (-0.46,21.465,-0.05,21.5), (19.13,21.685,19.54,21.775), (17.535,21.775,19.54,22.005), (19.13,22.005,19.54,22.065), (0.39,23.235,0.78,23.26), (0.36,23.26,0.78,23.275), (0.36,23.275,1.4,23.555), (0.36,23.555,0.78,23.605), (0.36,23.605,0.64,23.91), (-1.225,23.85,-0.865,23.91), (-1.225,23.91,0.64,24.19), (-1.225,24.19,-0.865,24.26), (-14.435,24.56,-14.02,24.585), (-18.21,24.585,-13.95,24.955), (-3.15,24.77,-2.755,24.825), (-3.365,24.825,-2.755,24.985), (-14.435,24.955,-14.02,25.035), (-3.58,24.985,-2.755,25.215), (-14.435,25.035,-14.075,25.115), (-0.47,25.145,-0.055,25.195), (-0.47,25.195,0.915,25.475), (-0.47,25.475,-0.055,25.505), (19.11,25.685,19.52,25.76), (17.475,25.76,19.52,25.99), (19.11,25.99,19.52,26.065), (0.4,27.215,0.79,27.25), (0.4,27.25,1.42,27.53), (0.4,27.53,0.79,27.585), (-0.465,29.11,-0.075,29.155), (-0.465,29.155,0.815,29.435), (-18.125,29.39,-14.175,29.48), (-0.465,29.435,-0.075,29.47), (-18.125,29.48,-14.125,29.71), (19.12,29.665,19.53,29.745), (-18.125,29.71,-14.175,29.8), (17.63,29.745,19.53,29.975), (-3.01,29.96,-2.44,30.19), (19.12,29.975,19.53,30.045), (0.4,31.185,0.79,31.23), (0.4,31.23,1.42,31.51), (0.4,31.51,0.79,31.555), (-18.205,31.56,-12.94,31.68), (-18.205,31.68,-12.745,32.26), (-18.205,32.26,-12.94,32.31), (-0.45,33.16,-0.06,33.21), (-0.45,33.21,0.86,33.44), (-0.45,33.44,-0.06,33.52), (19.12,33.68,19.53,33.73), (17.47,33.73,19.53,33.96), (19.12,33.96,19.53,34.06), (16.51,35.045,16.74,35.62), (0.405,35.195,0.795,35.255), (0.405,35.255,1.405,35.485), (0.405,35.485,0.795,35.565), (2.27,35.62,16.74,35.85), (-2.11,36.485,21.54,36.715), (19.255,37.345,19.675,37.75), (18.215,37.37,18.635,37.775), (19.23,38.025,19.65,38.43), (18.225,38.04,18.645,38.445)])
A(msb_unit_cell, via1, 19.19, 21.74, 0.26, 0.26, 1, 3, 0, 3.99)
R(msb_unit_cell, via1, [(20.275,17.315,20.535,17.575), (19.59,19.45,19.85,19.71), (18.29,19.495,18.55,19.755), (0.47,19.545,0.73,19.805), (18.955,19.835,19.215,20.095), (-0.385,21.195,-0.125,21.455), (0.47,23.285,0.73,23.545), (-1.18,23.92,-0.92,24.18), (-3.08,24.81,-2.82,25.07), (-0.385,25.205,-0.125,25.465), (0.47,27.26,0.73,27.52), (-0.385,29.165,-0.125,29.425), (0.47,31.24,0.73,31.5), (-0.385,33.195,-0.125,33.455), (19.19,33.715,19.45,33.975), (0.47,35.24,0.73,35.5), (19.34,37.42,19.6,37.68), (18.3,37.445,18.56,37.705), (19.315,38.1,19.575,38.36), (18.31,38.115,18.57,38.375)])
R(msb_unit_cell, metal2, [(-2.845,12.26,-2.56,13.095), (-14.975,15.52,-14.685,16.295), (20.155,17.22,20.645,17.7), (20.225,17.7,20.585,19.35), (18.025,19.35,20.585,20.215), (0.375,19.445,0.835,19.905), (0.46,19.905,0.74,23.235), (17.69,20.76,18.69,21.04), (18.165,21.04,18.69,24.76), (-0.46,21.14,-0.05,21.5), (-0.395,21.5,-0.115,25.145), (19.13,21.685,19.54,21.785), (19.13,21.785,19.72,22.065), (19.18,22.065,19.72,25.685), (0.39,23.235,0.78,23.605), (0.46,23.605,0.74,27.215), (-1.225,23.85,-0.875,23.87), (-1.225,23.87,-0.865,23.91), (-3.09,23.91,-0.865,24.19), (-3.09,24.19,-2.81,24.77), (-1.225,24.19,-0.865,24.26), (17.72,24.76,18.69,25.04), (-3.15,24.77,-2.755,25.135), (18.165,25.04,18.69,28.76), (-0.47,25.145,-0.055,25.505), (-0.395,25.505,-0.115,29.11), (19.11,25.685,19.72,26.065), (19.18,26.065,19.72,29.665), (0.4,27.215,0.79,27.585), (0.46,27.585,0.74,31.185), (17.65,28.76,18.69,29.04), (18.165,29.04,18.69,32.77), (-0.465,29.11,-0.075,29.47), (-0.395,29.47,-0.115,29.91), (19.12,29.665,19.72,30.045), (-3.09,29.91,-0.115,30.19), (19.18,30.045,19.72,33.68), (-0.395,30.19,-0.115,33.16), (0.4,31.185,0.79,31.555), (0.46,31.555,0.74,35.195), (17.655,32.77,18.69,33.05), (18.165,33.05,18.69,38.475), (-0.45,33.16,-0.06,33.52), (19.12,33.68,19.72,34.06), (19.18,34.06,19.72,38.465), (0.405,35.195,0.795,35.565)])
R(msb_unit_cell, lvpwell, [(-2.23,18.165,21.66,19.49), (-2.23,19.49,18.66,19.835), (18.99,19.49,21.66,19.815), (18.915,19.815,21.66,19.89), (-2.23,19.835,18.52,19.89), (-2.23,19.89,21.66,37.005)])
msb_unit_cell.add(gdstk.Reference(msb_unit_cell_p2, (1.025,33.85)))
msb_unit_cell.add(gdstk.Reference(msb_unit_cell_p2, (1.025,29.865)))
msb_unit_cell.add(gdstk.Reference(msb_unit_cell_p2, (1.025,21.895)))
msb_unit_cell.add(gdstk.Reference(msb_unit_cell_p2, (1.025,25.88)))
msb_unit_cell.add(gdstk.Reference(local_enc, (-14.57,18.005)))
msb_unit_cell.add(gdstk.Reference(cm_msb_v2, (-14.195,10.89)))
msb_unit_cell.add(gdstk.Label('IM_T', (-16.92,16.205), layer=34, texttype=10))
msb_unit_cell.add(gdstk.Label('IM', (-16.7,13.47), layer=34, texttype=10))
msb_unit_cell.add(gdstk.Label('VSS', (-17.115,18.06), layer=34, texttype=10))
msb_unit_cell.add(gdstk.Label('Ri', (-16.02,19.905), layer=34, texttype=10))
msb_unit_cell.add(gdstk.Label('Ci', (-17.155,24.77), layer=34, texttype=10))
msb_unit_cell.add(gdstk.Label('Ri-1', (-17.7,29.595), layer=34, texttype=10))
msb_unit_cell.add(gdstk.Label('VDD', (-17.415,31.625), layer=34, texttype=10))
msb_unit_cell.add(gdstk.Label('QB', (-2.585,30.095), layer=36, texttype=10))
msb_unit_cell.add(gdstk.Label('Q', (-2.945,24.865), layer=34, texttype=10))
msb_unit_cell.add(gdstk.Label('OUT', (20.37,13.985), layer=34, texttype=10))
msb_unit_cell.add(gdstk.Label('OUT+', (19.49,37.55), layer=34, texttype=10))
msb_unit_cell.add(gdstk.Label('OUT-', (18.405,38.265), layer=34, texttype=10))
msb_unit_cell.add(gdstk.Label('SD', (-2.7,12.4), layer=36, texttype=10))

lib.write_gds('MSB_Unit_Cell.gds')
